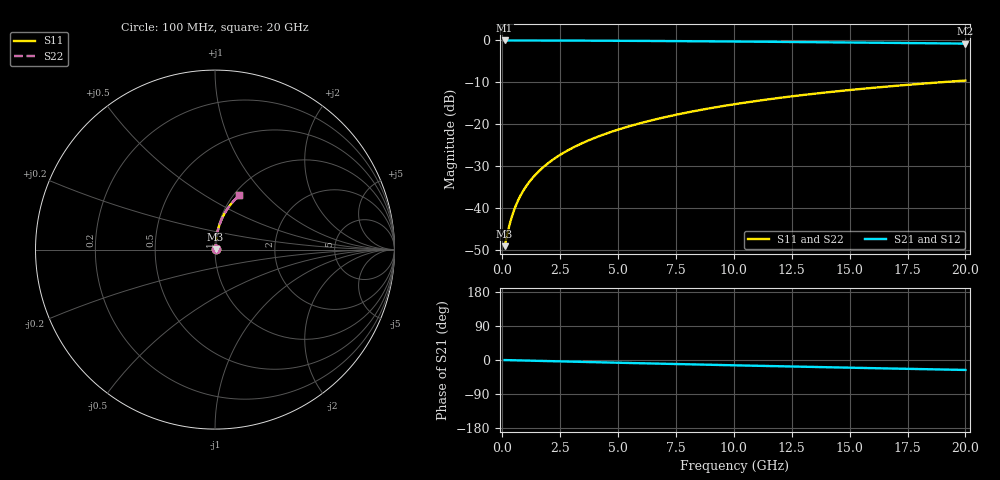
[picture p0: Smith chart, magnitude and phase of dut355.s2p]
! Touchstone file exported from HFSS 2024.1.0
!  File:  C:/UserFiles/LocalFiles/RDL_TSV_Batchsim/temp_RDL_bottom_355_1779612559.aedt
!  Generated:  04:51:55 PM May 24, 2026
!  Design:  RDL_bottom
!  Project:  temp_RDL_bottom_355_1779612559
!  Setup:  Setup1
!  Solution:  Sweep
! Variables:
!  dtsv = 10.80580581um
!  hbump = 3um
!  htsv = 58.15um
!  ldown = 291.53um
!  lrdl = 100um
!  p = 40
!  p1 = 51.12um
!  rhole = 1um
!  t = 450um
!  tdown = 2.77um
!  trdl = 3.915915916um
!  wdown = 13.23um
!  wrdl = 20um
# GHz S MA R 50.000000
! Terminal data exported
! Port[1] = RDL1_T1
! Port[2] = RDL1_T2
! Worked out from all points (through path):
!   200 points, 100 MHz to 20 GHz, reference 50 ohm
!   highest |S21| = -0.03 dB at 100 MHz (marker M1); lowest = -0.8 dB at 20 GHz (marker M2)
!   group delay of S21, straight-line fit = 3.64 ps
!   lowest |S11| = -49.2 dB at 100 MHz (marker M3), VSWR 1.01, Z = 50.3 + j0.178 ohm
!   |S11| at or under -10 dB: start of sweep to 18.96 GHz
!   |S22| runs from -49.2 to -9.6 dB; largest |S21 - S12| = 2.6e-15
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0.1  0.003486 30.6  0.997 -0.2  0.997 -0.2  0.003486 30.6
! Gamma 0 0 0 0
! Port Impedance 50 0 50 0
0.3  0.0061 59.5  0.9969 -0.5  0.9969 -0.5  0.006099 59.5
0.4  0.007654 65.7  0.9968 -0.6  0.9968 -0.6  0.007653 65.7
0.5  0.009264 69.7  0.9967 -0.7  0.9967 -0.7  0.009263 69.7
0.6  0.0109 72.6  0.9966 -0.9  0.9966 -0.9  0.0109 72.6
0.7  0.01256 74.6  0.9966 -1.0  0.9966 -1.0  0.01256 74.6
0.9  0.01591 77.4  0.9964 -1.3  0.9964 -1.3  0.01591 77.4
1.2  0.02096 79.7  0.9961 -1.8  0.9961 -1.8  0.02096 79.7
1.4  0.02433 80.7  0.9958 -2.1  0.9958 -2.1  0.02433 80.7
1.7  0.0294 81.7  0.9955 -2.5  0.9955 -2.5  0.0294 81.7
2.2  0.03787 82.6  0.9948 -3.2  0.9948 -3.2  0.03787 82.6
2.8  0.04807 83.1  0.9937 -4.1  0.9937 -4.1  0.04807 83.1
3.5  0.06003 83.2  0.9922 -5.1  0.9922 -5.1  0.06003 83.2
4.2  0.07206 83.0  0.9905 -6.1  0.9905 -6.1  0.07206 83.0
5  0.08586 82.6  0.9881 -7.2  0.9881 -7.2  0.08586 82.6
5.9  0.1015 81.9  0.9852 -8.5  0.9852 -8.5  0.1015 81.9
6.8  0.1171 81.1  0.982 -9.7  0.982 -9.7  0.1171 81.1
8.3  0.1431 79.6  0.976 -11.7  0.976 -11.7  0.1431 79.6
10.1  0.174 77.6  0.968 -14.1  0.968 -14.1  0.174 77.6
13.4  0.2293 73.7  0.9516 -18.3  0.9516 -18.3  0.2293 73.7
16.7  0.282 69.7  0.9335 -22.4  0.9335 -22.4  0.282 69.7
20  0.3314 65.8  0.9142 -26.3  0.9142 -26.3  0.3314 65.8
